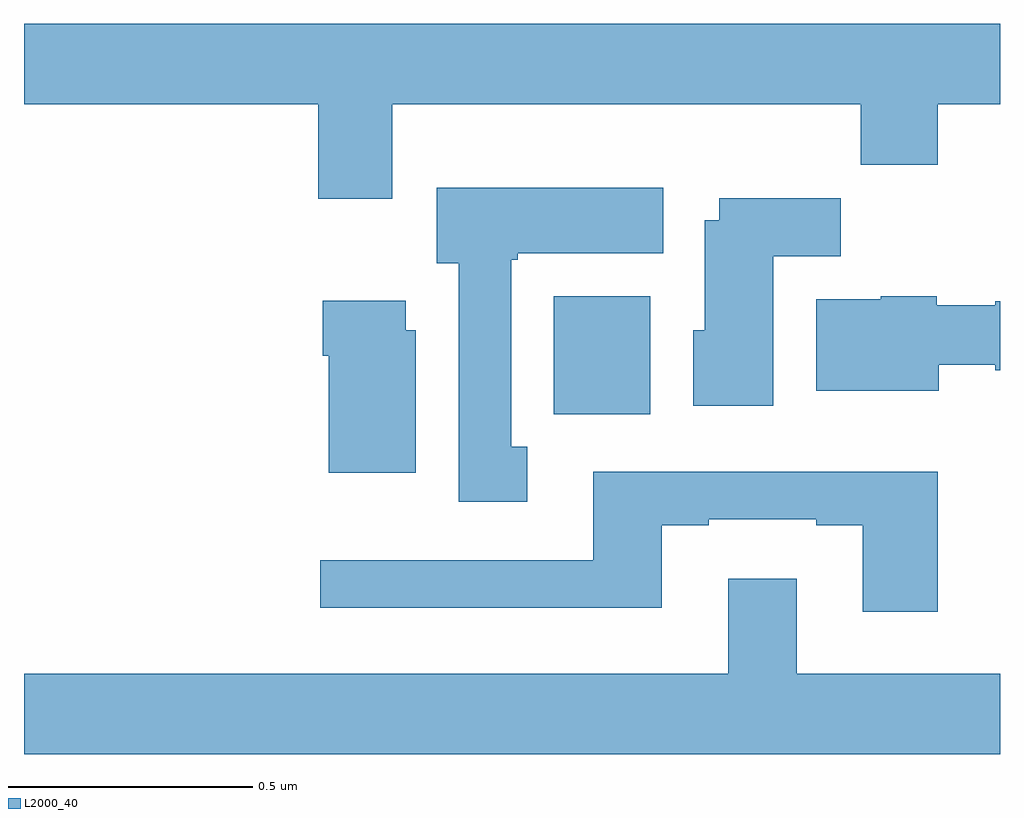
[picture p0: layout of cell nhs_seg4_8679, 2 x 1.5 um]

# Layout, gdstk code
import gdstk
lib = gdstk.Library(unit=1e-6, precision=1e-09)
def R(c, l, rs):  # rectangles x0, y0, x1, y1
    for r in rs: c.add(gdstk.rectangle(r[:2], r[2:], *l))
def P(c, l, *ps):  # polygons
    for p in ps: c.add(gdstk.Polygon(p, *l))
L2000_40 = (2000, 40)

nhs_seg4_8679 = lib.new_cell('nhs_seg4_8679')
R(nhs_seg4_8679, L2000_40, [(219.086,754.892,219.283,755.134)])
P(nhs_seg4_8679, L2000_40, [(218,755.528),(218.603,755.528),(218.603,755.334),(218.755,755.334),(218.755,755.528),(219.715,755.528),(219.715,755.404),(219.872,755.404),(219.872,755.528),(220,755.528),(220,755.692),(218,755.692)],
  [(219.031,754.826),(218.998,754.826),(218.998,755.209),(219.012,755.209),(219.012,755.222),(219.31,755.222),(219.31,755.356),(218.846,755.356),(218.846,755.202),(218.891,755.202),(218.891,754.713),(219.031,754.713)],
  [(219.535,755.216),(219.674,755.216),(219.674,755.335),(219.425,755.335),(219.425,755.29),(219.395,755.29),(219.395,755.064),(219.371,755.064),(219.371,754.91),(219.535,754.91)],
  [(219.874,754.994),(219.99,754.994),(219.99,754.982),(220,754.982),(220,755.124),(219.99,755.124),(219.99,755.116),(219.87,755.116),(219.87,755.134),(219.756,755.134),(219.756,755.128),(219.623,755.128),(219.623,754.94),(219.874,754.94)],
  [(218.803,755.064),(218.782,755.064),(218.782,755.125),(218.612,755.125),(218.612,755.012),(218.624,755.012),(218.624,754.772),(218.803,754.772)],
  [(219.872,754.774),(219.167,754.774),(219.167,754.593),(218.607,754.593),(218.607,754.496),(219.307,754.496),(219.307,754.665),(219.403,754.665),(219.403,754.677),(219.623,754.677),(219.623,754.665),(219.719,754.665),(219.719,754.488),(219.872,754.488)],
  [(220,754.36),(219.583,754.36),(219.583,754.555),(219.443,754.555),(219.443,754.36),(218,754.36),(218,754.196),(220,754.196)])

lib.write_gds('nhs_seg4_8679.gds')
